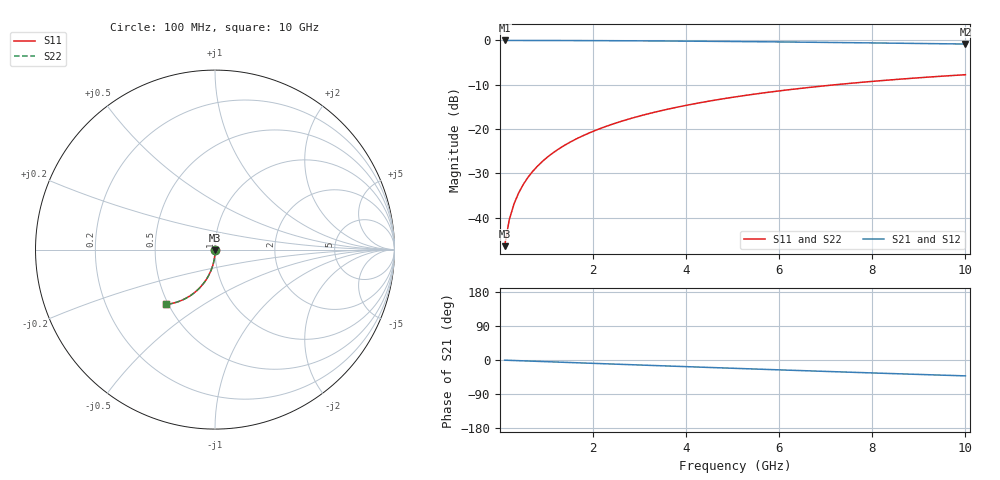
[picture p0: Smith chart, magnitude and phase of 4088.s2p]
# Hz S RI R 50.00
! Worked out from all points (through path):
!   100 points, 100 MHz to 10 GHz, reference 50 ohm
!   highest |S21| = -0.01 dB at 100 MHz (marker M1); lowest = -0.8 dB at 10 GHz (marker M2)
!   group delay of S21, straight-line fit = 11.7 ps
!   lowest |S11| = -46.4 dB at 100 MHz (marker M3), VSWR 1.01, Z = 50.1 - j0.474 ohm
!   |S11| at or under -10 dB: start of sweep to 7.208 GHz
!   |S22| runs from -46.4 to -7.7 dB; largest |S21 - S12| = 0
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1e8  0.000545 -0.00474  0.9994 -0.0077  0.9994 -0.0077  0.000545 -0.00474
2e8  0.000433 -0.00948  0.9992 -0.0154  0.9992 -0.0154  0.000433 -0.00948
3e8  0.000248 -0.0142  0.999 -0.0231  0.999 -0.0231  0.000248 -0.0142
4e8  -1.12e-05 -0.0189  0.9987 -0.0308  0.9987 -0.0308  -1.12e-05 -0.0189
5e8  -0.000343 -0.0237  0.9983 -0.0385  0.9983 -0.0385  -0.000343 -0.0237
6e8  -0.000748 -0.0284  0.9979 -0.0462  0.9979 -0.0462  -0.000748 -0.0284
7e8  -0.00123 -0.0331  0.9974 -0.0539  0.9974 -0.0539  -0.00123 -0.0331
8e8  -0.00178 -0.0378  0.9967 -0.0615  0.9967 -0.0615  -0.00178 -0.0378
9e8  -0.0024 -0.0425  0.996 -0.0692  0.996 -0.0692  -0.0024 -0.0425
1.1e9  -0.00386 -0.0519  0.9944 -0.0845  0.9944 -0.0845  -0.00386 -0.0519
1.4e9  -0.00659 -0.0658  0.9913 -0.1073  0.9913 -0.1073  -0.00659 -0.0658
1.8e9  -0.0112 -0.0841  0.9861 -0.1375  0.9861 -0.1375  -0.0112 -0.0841
2.1e9  -0.0154 -0.0976  0.9814 -0.1599  0.9814 -0.1599  -0.0154 -0.0976
2.5e9  -0.0219 -0.1153  0.974 -0.1895  0.974 -0.1895  -0.0219 -0.1153
2.9e9  -0.0295 -0.1324  0.9655 -0.2186  0.9655 -0.2186  -0.0295 -0.1324
3.4e9  -0.0404 -0.1531  0.9532 -0.2542  0.9532 -0.2542  -0.0404 -0.1531
4.2e9  -0.0608 -0.1841  0.9301 -0.3091  0.9301 -0.3091  -0.0608 -0.1841
5.1e9  -0.0876 -0.2153  0.8995 -0.3674  0.8995 -0.3674  -0.0876 -0.2153
5.9e9  -0.1143 -0.2395  0.8687 -0.4158  0.8687 -0.4158  -0.1143 -0.2395
6.7e9  -0.1432 -0.2602  0.8351 -0.4608  0.8351 -0.4608  -0.1432 -0.2602
8.4e9  -0.2093 -0.2915  0.7568 -0.5442  0.7568 -0.5442  -0.2093 -0.2915
1e10  -0.2738 -0.3056  0.6778 -0.608  0.6778 -0.608  -0.2738 -0.3056
